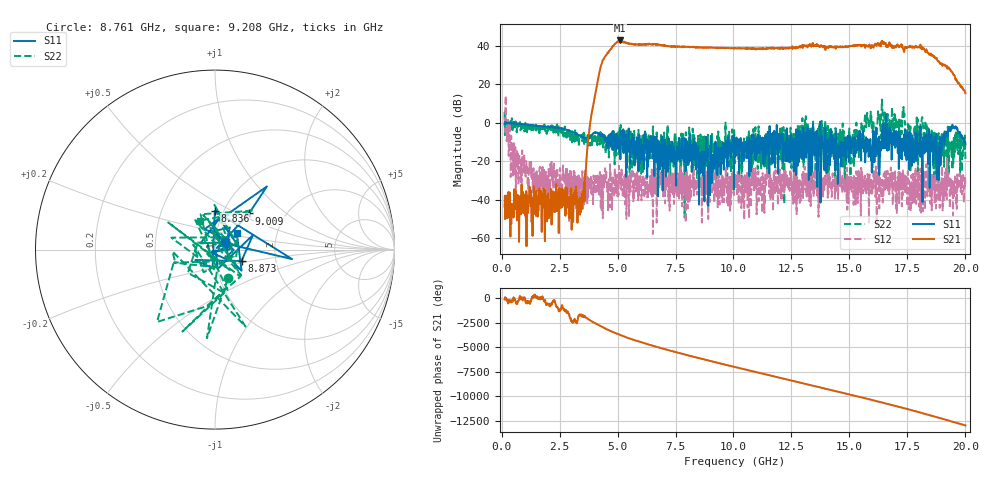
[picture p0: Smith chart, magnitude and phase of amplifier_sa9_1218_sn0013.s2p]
!Created with skrf (http://scikit-rf.org).
# GHz S RI R 50.0
!freq ReS11 ImS11 ReS21 ImS21 ReS12 ImS12 ReS22 ImS22
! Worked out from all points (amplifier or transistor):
!   1601 points, 130 MHz to 20 GHz, reference 50 ohm
!   highest |S21| = 42.8 dB at 5.098 GHz (marker M1)
!   |S21| within 3 dB of that: 4.813 GHz to 7.126 GHz (2.313 GHz wide, 38.7 % of centre)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
!   unconditionally stable (mu >= 1): 852.2 MHz to 1.024 GHz; 1.024 GHz to 4.077 GHz; 19.81 GHz to end of sweep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
!   at 3.433 GHz: K = 7926.24, MAG = -41.0 dB, |S12| = -45.1 dB
!   at 10.06 GHz: K = 1.36, MSG = 35.1 dB, |S12| = -31.6 dB
!   at 20 GHz: K = 3.05, MAG = 15.7 dB, |S12| = -31.6 dB
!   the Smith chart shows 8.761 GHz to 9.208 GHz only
!   S11 on the Smith chart (normalised r, x): 8.761 GHz: 1.11, +0.09; 8.836 GHz: 0.91, +0.41; 8.873 GHz: 1.33, -0.17; 9.009 GHz: 1.32, +0.58; 9.208 GHz: 1.25, +0.24
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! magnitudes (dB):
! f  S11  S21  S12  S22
! 130 MHz  -0.8  -43.6  2.3  5.6
! 477.7 MHz  0.2  -43.7  -15.9  -1.2
! 1.446 GHz  -1.5  -47.3  -26.1  -3.8
! 3.446 GHz  -7.1  -42.7  -39.4  -7.0
! 3.831 GHz  -7.2  0.5  -30.6  -6.3
! 4.241 GHz  -6.0  27.4  -25.5  -9.6
! 5.098 GHz  -7.6  42.8  -28.4  -2.8
! 6.762 GHz  -9.2  40.6  -31.5  -19.7
! 8.761 GHz  -23.2  39.2  -32.4  -15.2
! 8.836 GHz  -13.3  39.2  -37.0  -13.8
! 8.873 GHz  -15.9  39.1  -25.2  -14.0
! 9.009 GHz  -11.2  39.1  -30.9  -17.0
! 9.208 GHz  -16.3  39.0  -36.8  -14.8
! 10.06 GHz  -18.2  38.7  -31.6  -21.0
! 13.38 GHz  -5.0  40.2  -35.5  -33.7
! 16.7 GHz  -4.6  40.5  -30.6  -12.2
! 17.31 GHz  -10.1  38.7  -24.8  6.0
! 17.69 GHz  -22.4  39.7  -33.7  -15.2
! 18.15 GHz  -41.3  38.3  -33.1  1.9
! 18.87 GHz  -11.9  31.7  -32.6  -9.2
! 19.48 GHz  -2.4  25.0  -31.1  -21.0
! 20 GHz  -11.2  15.4  -31.6  -19.1
